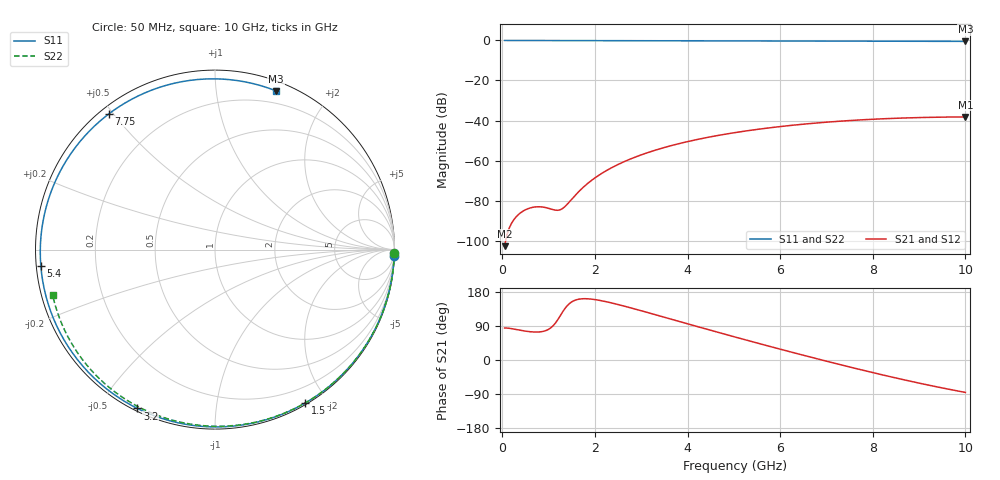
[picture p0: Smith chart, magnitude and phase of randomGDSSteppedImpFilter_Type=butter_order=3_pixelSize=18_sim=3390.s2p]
! freq	dB(S11)	phase(S11)	dB(S12)	phase(S12)
!  dB(S21)	phase(S21)	dB(S22)	phase(S22)
!S-par simulation data
#  GHz  S  DB  R 50
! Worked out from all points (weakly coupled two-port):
!   200 points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, 50 MHz to 10 GHz, reference 50 ohm
!   highest |S21| = -38.20 dB at 10 GHz (marker M1); lowest = -102.8 dB at 50 MHz (marker M2)
!   lowest |S11| = -0.5 dB at 10 GHz (marker M3), VSWR 37.03, Z = 4.2 + j72.6 ohm
!   |S11| at or under -10 dB: nowhere
!   |S22| runs from -0.5 to 0.0 dB; largest |S21 - S12| = 0
!   S11 on the Smith chart (normalised r, x): 50 MHz: 1, -57; 1.5 GHz: 0.02, -1.75; 3.2 GHz: 0.01, -0.62; 5.4 GHz: 0.01, -0.05; 7.75 GHz: 0.03, +0.49; 10 GHz: 0.08, +1.45
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0.05  -0.01 -2.0  -102.76 84.3  -102.76 84.3  -0.00 -0.9
0.35  -0.03 -14.4  -86.94 79.3  -86.94 79.3  -0.01 -6.7
0.7  -0.04 -28.6  -83.19 73.7  -83.19 73.7  -0.02 -13.4
1.1  -0.06 -44.4  -84.53 90.7  -84.53 90.7  -0.03 -21.0
1.45  -0.07 -57.7  -80.58 149.0  -80.58 149.0  -0.03 -27.5
1.5  -0.07 -59.6  -79.27 153.4  -79.27 153.4  -0.04 -28.5
1.75  -0.08 -68.7  -73.30 161.7  -73.30 161.7  -0.04 -33.1
2.05  -0.09 -79.3  -67.87 158.5  -67.87 158.5  -0.05 -38.6
2.35  -0.10 -89.4  -63.71 150.9  -63.71 150.9  -0.06 -44.1
2.75  -0.12 -102.3  -59.38 138.4  -59.38 138.4  -0.07 -51.2
3.2  -0.13 -116.0  -55.57 123.2  -55.57 123.2  -0.08 -59.2
3.4  -0.14 -121.9  -54.14 116.3  -54.14 116.3  -0.08 -62.6
4.2  -0.17 -144.0  -49.51 88.6  -49.51 88.6  -0.11 -76.2
5.05  -0.21 -165.9  -45.94 59.8  -45.94 59.8  -0.14 -90.0
5.4  -0.22 -174.5  -44.75 48.2  -44.75 48.2  -0.15 -95.6
6.05  -0.26 169.6  -42.89 27.0  -42.89 27.0  -0.19 -105.7
6.7  -0.29 153.8  -41.40 6.3  -41.40 6.3  -0.22 -115.5
7.2  -0.32 141.6  -40.48 -9.3  -40.48 -9.3  -0.26 -123.0
7.75  -0.35 127.9  -39.66 -25.9  -39.66 -25.9  -0.30 -131.1
8.35  -0.39 112.7  -39.00 -43.3  -39.00 -43.3  -0.36 -139.9
9.2  -0.43 90.5  -38.42 -66.2  -38.42 -66.2  -0.45 -152.4
10  -0.47 69.0  -38.20 -85.5  -38.20 -85.5  -0.54 -164.4
